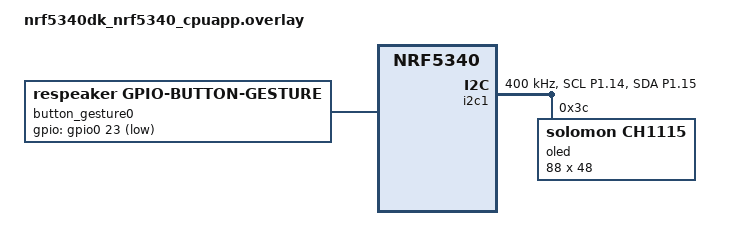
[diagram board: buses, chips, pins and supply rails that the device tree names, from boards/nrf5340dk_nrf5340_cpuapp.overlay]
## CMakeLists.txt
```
#-------------------------------------------------------------------------------
# Zephyr Example Application
#
# Copyright (c) 2021 Nordic Semiconductor ASA
# SPDX-License-Identifier: Apache-2.0

cmake_minimum_required(VERSION 3.21)

# Work around Windows path-length limits.
# This project pulls in an external module whose generated object/dependency
# file paths can exceed the safe limit on Windows, causing GCC to fail writing
# the .obj.d depfile.
if(WIN32)
  # Use a very small value to force hashing/shortening of object paths.
  # This avoids GCC failing to create depfiles (.obj.d) under deep module paths.
  set(CMAKE_OBJECT_PATH_MAX 60)
endif()

# STEP 8.1 Add external module
list(APPEND EXTRA_ZEPHYR_MODULES 
  ${CMAKE_CURRENT_SOURCE_DIR}/../custom_driver_module 
)

find_package(Zephyr REQUIRED HINTS $ENV{ZEPHYR_BASE})

project(app LANGUAGES C)

if(CONFIG_RESPEAKER_APP_VARIANT_SIMPLE_UI)
  target_sources(app PRIVATE
    simple_ui.c
    src/button.c
  )
elseif(CONFIG_RESPEAKER_APP_VARIANT_RTC_DEMO)
  target_sources(app PRIVATE
    rtc_demo.c
  )
else()
  target_sources(app PRIVATE
    src/main.c
    src/button.c
  )
endif()
```

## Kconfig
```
mainmenu "Respeaker Application Configuration"

# This application provides a top-level Kconfig file, which Zephyr will treat
# as KCONFIG_ROOT. Pull in Zephyr's full configuration tree so standard symbols
# (GPIO, LOG, CONSOLE, etc.) are defined.
source "$(ZEPHYR_BASE)/Kconfig.zephyr"

menu "Respeaker app"

choice RESPEAKER_APP_VARIANT
	prompt "App variant"
	default RESPEAKER_APP_VARIANT_LVGL
	help
	  Select which app entry point to build.

config RESPEAKER_APP_VARIANT_LVGL
	bool "LVGL UI (src/main.c)"

config RESPEAKER_APP_VARIANT_SIMPLE_UI
	bool "Simple UI (simple_ui.c)"

config RESPEAKER_APP_VARIANT_RTC_DEMO
	bool "RTC demo (rtc_demo.c)"

endchoice

endmenu
```

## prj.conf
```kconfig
CONFIG_LOG=y
CONFIG_MAIN_STACK_SIZE=8192
# 启用I2C
CONFIG_I2C=y
# 启用GPIO
CONFIG_GPIO=y

# Custom Driver Module: GPIO button gesture device
CONFIG_CUSTOM_GPIO_BUTTON_GESTURE=y

# 启用显示子系统
CONFIG_DISPLAY=y

# 启用 Zephyr 设备电源管理（用于 device PM 回调与 pm_device_action_run 测试）
# 注意：System PM (CONFIG_PM) 依赖 HAS_PM；本工程这里只需要 CONFIG_PM_DEVICE。
CONFIG_PM_DEVICE=y

# 启用 LVGL（单色 88x48 OLED）
CONFIG_LVGL=y
CONFIG_LV_COLOR_DEPTH_1=y

# LVGL 刷新周期（ms）。默认通常约 33ms（~30 FPS）。
# 想继续提高帧率上限，可以继续减小（功耗/CPU 占用会明显增加）。
# Zephyr tick 常见是 1ms，通常不建议设到 <1。
CONFIG_LV_DEF_REFR_PERIOD=5
CONFIG_LV_Z_VDB_SIZE=100
CONFIG_LV_Z_MEM_POOL_SIZE=24576
# 关闭 LVGL 内部日志（提升刷新性能，降低串口输出开销）
# CONFIG_LV_USE_LOG is not set
CONFIG_LV_USE_LABEL=y
CONFIG_LV_FONT_MONTSERRAT_12=y
CONFIG_LV_FONT_MONTSERRAT_14=y

# 降低全局日志默认等级（FPS 压测时尽量别让日志成为瓶颈）
CONFIG_LOG_DEFAULT_LEVEL=2
# 启用自定义OLED显示驱动
CONFIG_CUSTOM_OLED_DISPLAY_128X64=y

# 不启用 Zephyr 自带 SSD1306 驱动（本工程使用 solomon,ch1115 自定义驱动）
# CONFIG_SSD1306 is not set

# 启用内存堆配置以支持k_malloc
CONFIG_HEAP_MEM_POOL_SIZE=4096
CONFIG_KERNEL_MEM_POOL=y

# ========================================
# RTC Configuration
# ========================================
CONFIG_RTC=y
# RTC驱动需要在设备树中定义RTC节点
```

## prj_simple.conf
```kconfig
# ========================================
# Simple UI Demo 配置文件 (无LVGL)
# ========================================
# RAM占用：约2.6KB（相比LVGL方案的36KB节省92%）

# Select the Simple UI variant entry point.
CONFIG_RESPEAKER_APP_VARIANT_SIMPLE_UI=y

CONFIG_LOG=y
CONFIG_MAIN_STACK_SIZE=2048

# 启用I2C
CONFIG_I2C=y

# 启用GPIO
CONFIG_GPIO=y

# Custom Driver Module: GPIO button gesture device
# (Not required for the simple_ui demo; keep disabled to avoid DT/Kconfig dependency errors)
# CONFIG_CUSTOM_GPIO_BUTTON_GESTURE is not set

# 启用显示子系统（用于Framebuffer操作）
CONFIG_DISPLAY=y

# 启用 Zephyr 设备电源管理
CONFIG_PM_DEVICE=y

# ========================================
# LVGL 配置 - 已移除
# ========================================
# 以下配置已禁用以节省RAM
# CONFIG_LVGL=y
# CONFIG_LV_COLOR_DEPTH_1=y
# CONFIG_LV_DEF_REFR_PERIOD=5
# CONFIG_LV_Z_VDB_SIZE=100
# CONFIG_LV_Z_MEM_POOL_SIZE=24576
# CONFIG_LV_USE_LOG is not set
# CONFIG_LV_USE_LABEL=y
# CONFIG_LV_FONT_MONTSERRAT_12=y
# CONFIG_LV_FONT_MONTSERRAT_14=y

# 启用内存堆配置（简化配置）
CONFIG_HEAP_MEM_POOL_SIZE=1024
CONFIG_KERNEL_MEM_POOL=y

# ========================================
# RTC Configuration (可选)
# ========================================
# CONFIG_RTC=y
```

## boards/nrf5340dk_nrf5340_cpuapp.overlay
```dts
&i2c1 {
	status = "okay";
	pinctrl-0 = <&i2c1_default>;
	pinctrl-1 = <&i2c1_sleep>;
	pinctrl-names = "default", "sleep";
	clock-frequency = <400000>;

	/*
	 * nrfx_twim needs an internal driver buffer for some I2C transactions.
	 * CH1115 init writes ~30 bytes, and page writes are (1 + 88) bytes.
	 */
	zephyr,concat-buf-size = <96>;
	zephyr,flash-buf-max-size = <96>;
    
	oled: ch1115@3c {
		compatible = "solomon,ch1115";
		reg = <0x3c>;
		width = <88>;
		height = <48>;
		segment-offset = <0>;
		page-offset = <0>;
		/* Matches vendor init sequence for 0.50\" 88x48 modules */
		display-offset = <0x38>;
		multiplex-ratio = <47>;
		segment-remap = <0>;
		com-invdir = <0>;
		prechargep = <0x22>;
	};

};

/ {
	chosen {
		zephyr,display = &oled;
	};

	button_gesture0: button-gesture0 {
		compatible = "respeaker,gpio-button-gesture";
		/* nRF5340DK Button 1 (SW0). */
		gpios = <&gpio0 23 (GPIO_PULL_UP | GPIO_ACTIVE_LOW)>;
		debounce-ms = <20>;
		tap-threshold-ms = <300>;
		double-click-ms = <600>;
		long-press-ms = <1000>;
	};

	aliases {
		/* App-facing alias for the gesture device (not a raw gpio-keys node). */
		appbutton = &button_gesture0;
	};
};

&pinctrl {
	/omit-if-no-ref/ i2c1_default: i2c1_default {
		group1 {
			psels = <NRF_PSEL(TWIM_SCL, 1, 14)>,
					<NRF_PSEL(TWIM_SDA, 1, 15)>;
		};
	};

	/omit-if-no-ref/ i2c1_sleep: i2c1_sleep {
		group1 {
			psels = <NRF_PSEL(TWIM_SCL, 1, 14)>,
					<NRF_PSEL(TWIM_SDA, 1, 15)>;
			low-power-enable;
		};
	};

};
```

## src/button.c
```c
#include "button.h"

#include <zephyr/kernel.h>
#include <zephyr/logging/log.h>
#include <zephyr/devicetree.h>

#include "input/button_gesture.h"

LOG_MODULE_REGISTER(app_button, CONFIG_LOG_DEFAULT_LEVEL);

K_MSGQ_DEFINE(button_evt_q, sizeof(button_event_t), 8, 4);

static const struct device *btn_gesture_dev;

static void button_emit(button_event_t evt)
{
	(void)k_msgq_put(&button_evt_q, &evt, K_NO_WAIT);
}

static void gesture_cb(const struct device *dev, enum button_gesture_action action, void *user_data)
{
	ARG_UNUSED(dev);
	ARG_UNUSED(user_data);

	switch (action) {
	case BUTTON_GESTURE_SINGLE:
		button_emit(BUTTON_EVENT_SHORT_PRESS);
		break;
	case BUTTON_GESTURE_DOUBLE:
		button_emit(BUTTON_EVENT_DOUBLE_PRESS);
		break;
	case BUTTON_GESTURE_LONG:
		button_emit(BUTTON_EVENT_LONG_PRESS);
		break;
	default:
		break;
	}
}

int button_init(void)
{
	/* Bind to the first enabled gesture device instance.
	 * The concrete GPIO/polarity is provided by devicetree.
	 */
#if DT_HAS_COMPAT_STATUS_OKAY(respeaker_gpio_button_gesture)
	btn_gesture_dev = DEVICE_DT_GET_ANY(respeaker_gpio_button_gesture);
#else
	btn_gesture_dev = NULL;
#endif

	if (!btn_gesture_dev) {
		LOG_ERR("No gesture device in devicetree (compatible respeaker,gpio-button-gesture)");
		return -ENODEV;
	}
	if (!device_is_ready(btn_gesture_dev)) {
		LOG_ERR("Gesture device not ready");
		return -ENODEV;
	}

	k_msgq_purge(&button_evt_q);
	int ret = 0;
	ret |= button_gesture_register_callback(btn_gesture_dev, BUTTON_GESTURE_SINGLE, gesture_cb, NULL);
	ret |= button_gesture_register_callback(btn_gesture_dev, BUTTON_GESTURE_DOUBLE, gesture_cb, NULL);
	ret |= button_gesture_register_callback(btn_gesture_dev, BUTTON_GESTURE_LONG, gesture_cb, NULL);
	if (ret != 0) {
		LOG_ERR("Failed to register gesture callbacks: %d", ret);
		return ret;
	}

	LOG_INF("Button wrapper bound to gesture device");
	return 0;
}

int button_get_event(button_event_t *evt, k_timeout_t timeout)
{
	if (!evt) {
		return -EINVAL;
	}

	return k_msgq_get(&button_evt_q, evt, timeout);
}
```

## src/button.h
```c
#ifndef APP_BUTTON_H
#define APP_BUTTON_H

#include <zephyr/kernel.h>

#ifdef __cplusplus
extern "C" {
#endif

typedef enum {
	BUTTON_EVENT_NONE = 0,
	BUTTON_EVENT_SHORT_PRESS,
	BUTTON_EVENT_LONG_PRESS,
	BUTTON_EVENT_DOUBLE_PRESS,
} button_event_t;

int button_init(void);

/* Get next button event.
 * Returns 0 on success, -EAGAIN on timeout/no data.
 */
int button_get_event(button_event_t *evt, k_timeout_t timeout);

static inline int button_get_event_no_wait(button_event_t *evt)
{
	return button_get_event(evt, K_NO_WAIT);
}

#ifdef __cplusplus
}
#endif

#endif /* APP_BUTTON_H */
```
